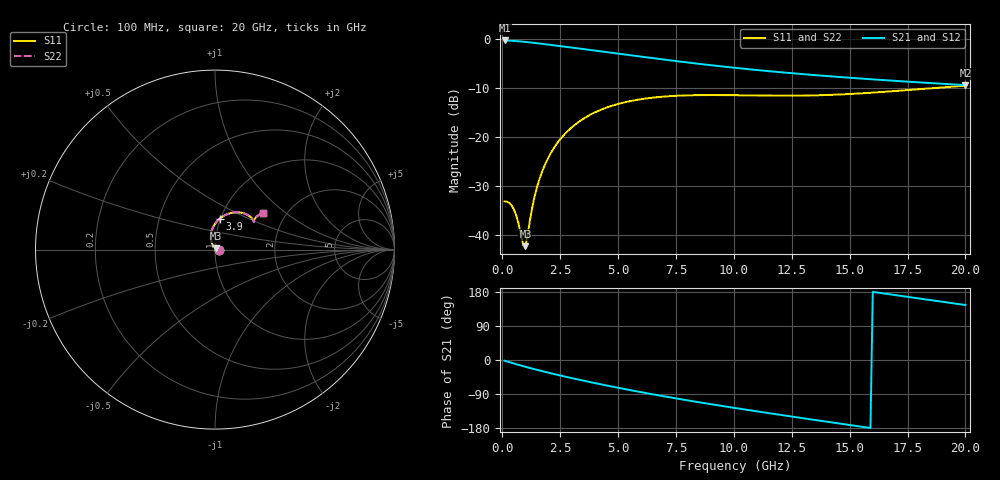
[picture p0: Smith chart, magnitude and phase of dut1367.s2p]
! Touchstone file exported from HFSS 2024.1.0
!  File:  C:/UserFiles/LocalFiles/RDL_TSV_Batchsim/temp_RDL_TSV_1367_1780397841.aedt
!  Generated:  07:10:11 PM Jun  2, 2026
!  Design:  RDL_TSV
!  Project:  temp_RDL_TSV_1367_1780397841
!  Setup:  Setup1
!  Solution:  Sweep
! Variables:
!  dtsv = 14.42um
!  hbump = 3um
!  htsv = 56.43um
!  ldown = 200.95um
!  lrdl = 642.03um
!  p = 40
!  p1 = 46.15um
!  rhole = 10um
!  subl = 3170.97um
!  t = 450um
!  tdown = 2.91um
!  trdl = 2.26um
!  viad = 10um
!  wdown = 23.62um
!  wrdl = 21.34um
!  xbump = 18um
# GHz S MA R 50.000000
! Terminal data exported
! Port[1] = TM1_1_T1
! Port[2] = TM1_4_T1
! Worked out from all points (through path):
!   200 points, 100 MHz to 20 GHz, reference 50 ohm
!   highest |S21| = -0.20 dB at 100 MHz (marker M1); lowest = -9.4 dB at 20 GHz (marker M2)
!   group delay of S21, straight-line fit = 28.3 ps
!   lowest |S11| = -42.4 dB at 1 GHz (marker M3), VSWR 1.02, Z = 50.3 + j0.71 ohm
!   |S11| at or under -10 dB: start of sweep to 18.5 GHz
!   |S22| runs from -42.4 to -9.5 dB; largest |S21 - S12| = 3.2e-14
!   S11 on the Smith chart (normalised r, x): 100 MHz: 1.04, +0.00; 3.9 GHz: 0.99, +0.35; 20 GHz: 1.54, +0.70
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0.1  0.0219 1.0  0.9775 -1.9  0.9775 -1.9  0.0219 0.9
! Gamma 0 0 0 0
! Port Impedance 50 0 50 0
0.3  0.02112 1.1  0.9734 -5.7  0.9734 -5.7  0.02112 1.1
0.5  0.01812 0.9  0.9668 -9.3  0.9668 -9.3  0.01812 0.9
0.7  0.013 6.3  0.9587 -12.8  0.9587 -12.8  0.01301 6.3
0.9  0.007852 35.9  0.9492 -16.3  0.9492 -16.3  0.007854 35.9
1  0.007604 68.1  0.9441 -18.0  0.9441 -18.0  0.0076 68.1
1.3  0.01935 113.1  0.9275 -22.9  0.9275 -22.9  0.01934 113.1
1.4  0.02487 115.6  0.9217 -24.5  0.9217 -24.5  0.02486 115.6
1.6  0.03676 116.2  0.9098 -27.6  0.9098 -27.6  0.03675 116.2
1.9  0.05578 113.0  0.8917 -32.2  0.8917 -32.2  0.05576 113.0
2.2  0.07531 108.3  0.8735 -36.6  0.8735 -36.6  0.07528 108.3
2.6  0.1011 101.5  0.8495 -42.3  0.8495 -42.3  0.101 101.5
3.5  0.1539 87.1  0.7976 -54.5  0.7976 -54.5  0.1539 87.1
3.9  0.1741 81.4  0.7753 -59.7  0.7753 -59.7  0.1741 81.4
5.2  0.2245 65.7  0.7065 -75.7  0.7065 -75.7  0.2245 65.7
6.8  0.2577 51.7  0.6304 -93.9  0.6304 -93.9  0.2577 51.7
8.4  0.2688 42.5  0.5661 -110.6  0.5661 -110.6  0.2687 42.5
10.1  0.2682 37.1  0.5107 -127.1  0.5107 -127.1  0.2683 37.1
11.7  0.2655 35.3  0.4689 -142.0  0.4689 -142.0  0.2656 35.3
13.4  0.2671 35.8  0.433 -157.4  0.433 -157.4  0.2673 35.8
16.7  0.2931 38.3  0.3801 173.6  0.3801 173.6  0.2934 38.3
20  0.336 37.2  0.3406 145.1  0.3406 145.1  0.3364 37.1
